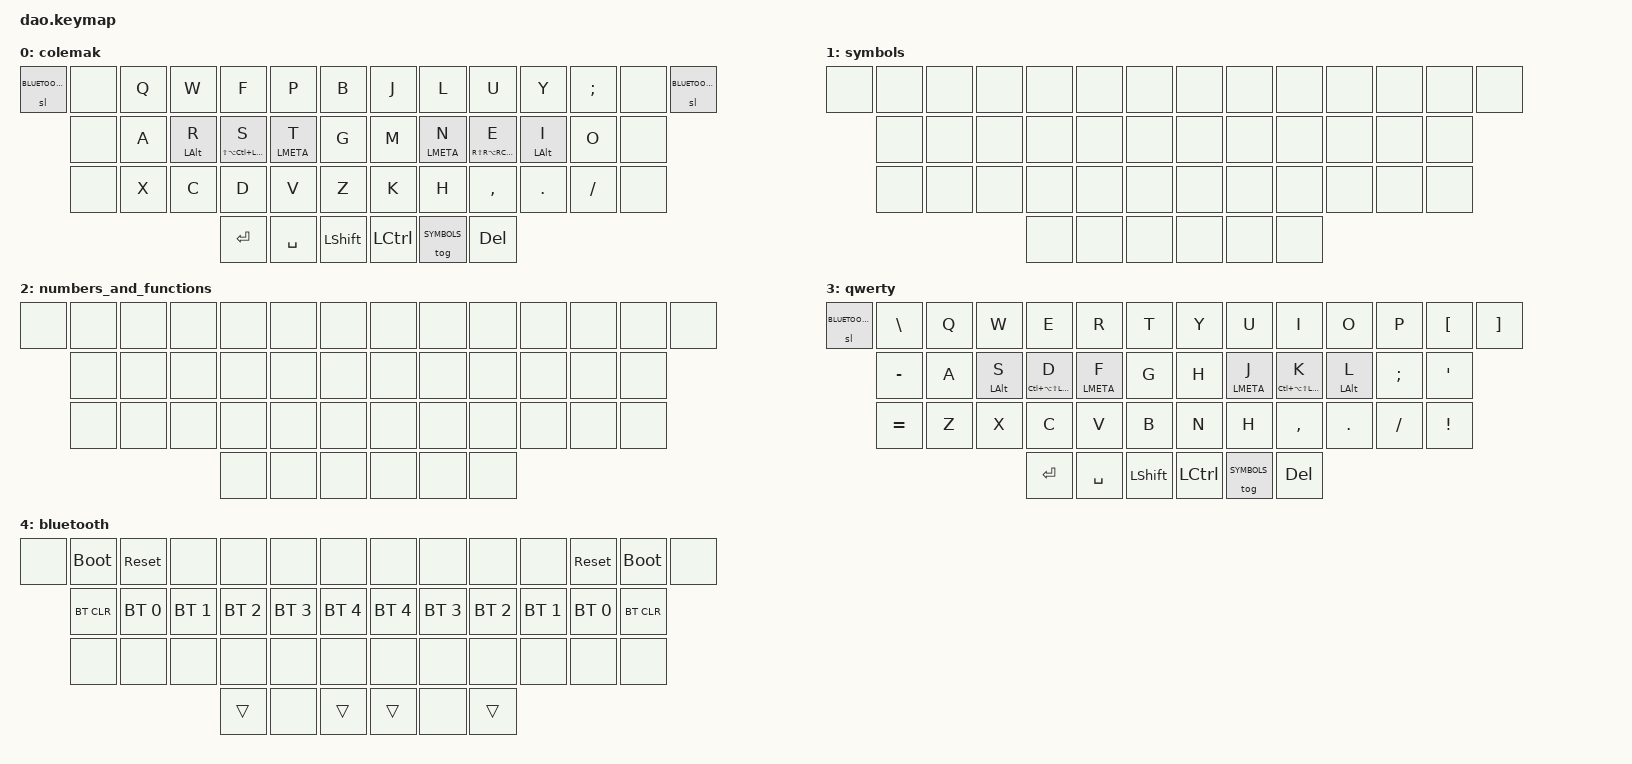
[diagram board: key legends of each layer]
#include <behaviors.dtsi>
#include <dt-bindings/zmk/bt.h>
#include <dt-bindings/zmk/keys.h>

#define COLEMAK 0
#define SYMBOLS 1
#define NUMBERS_AND_FUNCTIONS 2
#define QWERTY 3
#define BLUETOOTH 4

// Hyper key = holding all modifiers

#define HYP LC(LA(LS(LGUI)))

&lt {
    quick_tap_ms = <200>;
};

&mt {
    quick_tap_ms = <200>;
};

/ {
    chosen {
        zmk,matrix_transform = &extra_keys_transform;
    };
};

/ {
    combos {
        compatible = "zmk,combos";

        combo_toggle_layout_r {
            timeout-ms = <50>;
            key-positions = <41 42>;
            bindings = <&tog COLEMAK>;
            layers = <COLEMAK QWERTY>;
        };

        combo_toggle_layout_l {
            timeout-ms = <50>;
            key-positions = <39 40>;
            bindings = <&tog QWERTY>;
            layers = <COLEMAK QWERTY>;
        };
    };
};

/ {
    keymap {
        compatible = "zmk,keymap";

        colemak {
            bindings = <
&sl BLUETOOTH  &none  &kp Q  &kp W       &kp F                   &kp P        &kp B         &kp J      &kp L         &kp U                   &kp Y       &kp SEMI  &none  &sl BLUETOOTH
               &none  &kp A  &mt LALT R  &mt LS(LA(LC(LGUI))) S  &mt LMETA T  &kp G         &kp M      &mt LMETA N   &mt RS(RA(RC(RGUI))) E  &mt LALT I  &kp O     &none
               &none  &kp X  &kp C       &kp D                   &kp V        &kp Z         &kp K      &kp H         &kp COMMA               &kp PERIOD  &kp FSLH  &none
                                         &kp RET                 &kp SPACE    &kp LSHIFT    &kp LCTRL  &tog SYMBOLS  &kp DEL
            >;
        };

        symbols {
            bindings = <
&none  &none  &none  &none  &none  &none  &none    &none  &none  &none  &none  &none  &none  &none
       &none  &none  &none  &none  &none  &none    &none  &none  &none  &none  &none  &none
       &none  &none  &none  &none  &none  &none    &none  &none  &none  &none  &none  &none
                            &none  &none  &none    &none  &none  &none
            >;
        };

        numbers_and_functions {
            bindings = <
&none  &none  &none  &none  &none  &none  &none    &none  &none  &none  &none  &none  &none  &none
       &none  &none  &none  &none  &none  &none    &none  &none  &none  &none  &none  &none
       &none  &none  &none  &none  &none  &none    &none  &none  &none  &none  &none  &none
                            &none  &none  &none    &none  &none  &none
            >;
        };

        // TODO: add quotes for russian

        qwerty {
            bindings = <
&sl BLUETOOTH  &kp BSLH   &kp Q  &kp W       &kp E      &kp R        &kp T         &kp Y      &kp U         &kp I      &kp O       &kp P     &kp LBKT  &kp RBKT
               &kp MINUS  &kp A  &mt LALT S  &mt HYP D  &mt LMETA F  &kp G         &kp H      &mt LMETA J   &mt HYP K  &mt LALT L  &kp SEMI  &kp SQT
               &kp EQUAL  &kp Z  &kp X       &kp C      &kp V        &kp B         &kp N      &kp H         &kp COMMA  &kp PERIOD  &kp FSLH  &kp EXCL
                                             &kp RET    &kp SPACE    &kp LSHIFT    &kp LCTRL  &tog SYMBOLS  &kp DEL
            >;
        };

        bluetooth {
            bindings = <
&none  &bootloader  &sys_reset    &none         &none         &none         &none           &none         &none         &none         &none         &sys_reset    &bootloader  &none
       &bt BT_CLR   &bt BT_SEL 0  &bt BT_SEL 1  &bt BT_SEL 2  &bt BT_SEL 3  &bt BT_SEL 4    &bt BT_SEL 4  &bt BT_SEL 3  &bt BT_SEL 2  &bt BT_SEL 1  &bt BT_SEL 0  &bt BT_CLR
       &none        &none         &none         &none         &none         &none           &none         &none         &none         &none         &none         &none
                                                &trans        &none         &trans          &trans        &none         &trans
            >;
        };
    };
};
